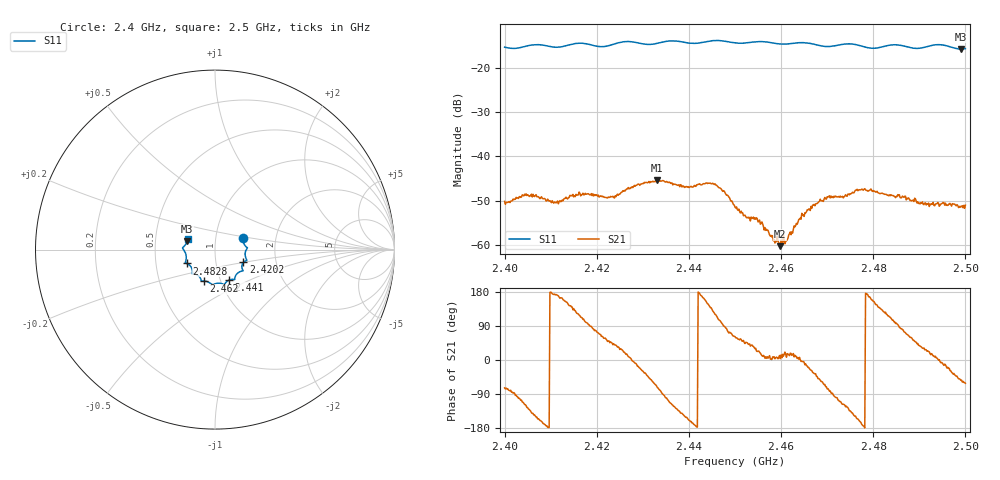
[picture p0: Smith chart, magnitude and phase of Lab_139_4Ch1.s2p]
# Hz S RI R 50
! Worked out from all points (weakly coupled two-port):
!   601 points, 2.4 GHz to 2.5 GHz, reference 50 ohm
!   highest |S21| = -45.34 dB at 2.433 GHz (marker M1); lowest = -60.2 dB at 2.4597 GHz (marker M2)
!   lowest |S11| = -15.8 dB at 2.499 GHz (marker M3), VSWR 1.39, Z = 36.5 + j3.48 ohm
!   |S11| at or under -10 dB: start of sweep to end of sweep
!   S12 and S22 are empty: the file has one direction only
!   S11 on the Smith chart (normalised r, x): 2.4 GHz: 1.36, +0.18; 2.4202 GHz: 1.36, -0.20; 2.441 GHz: 1.10, -0.39; 2.462 GHz: 0.84, -0.30; 2.4828 GHz: 0.72, -0.11; 2.5 GHz: 0.73, +0.09
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2.4e9  0.1575 0.063  0.000879 -0.00299  0 0  0 0
2.404667e9  0.1733 0.0159  -0.00192 -0.00327  0 0  0 0
2.411167e9  0.1681 -0.0183  -0.00298 0.000376  0 0  0 0
2.416667e9  0.1777 -0.0601  -0.00141 0.00343  0 0  0 0
2.420167e9  0.1581 -0.0708  0.00106 0.00341  0 0  0 0
2.423667e9  0.1507 -0.104  0.00253 0.00237  0 0  0 0
2.433e9  0.1135 -0.1481  0.00193 -0.00505  0 0  0 0
2.433333e9  0.1122 -0.1512  0.00144 -0.00512  0 0  0 0
2.441e9  0.0786 -0.1694  -0.00448 -0.000865  0 0  0 0
2.445667e9  0.0516 -0.1947  -0.00249 0.00424  0 0  0 0
2.45e9  0.0284 -0.1871  0.00128 0.00237  0 0  0 0
2.452833e9  0.000587 -0.1904  0.00153 0.0014  0 0  0 0
2.454833e9  -0.011 -0.1952  0.00183 0.000759  0 0  0 0
2.459667e9  -0.038 -0.1802  0.000957 0.0002  0 0  0 0
2.462e9  -0.0604 -0.1756  0.00134 0.000437  0 0  0 0
2.466667e9  -0.078 -0.168  0.0023 -0.00123  0 0  0 0
2.47e9  -0.0952 -0.1435  0.000849 -0.00341  0 0  0 0
2.476667e9  -0.126 -0.127  -0.00375 -0.0017  0 0  0 0
2.482833e9  -0.1575 -0.0772  -0.00193 0.00321  0 0  0 0
2.483333e9  -0.1605 -0.0761  -0.0016 0.00323  0 0  0 0
2.499e9  -0.1547 0.0465  0.00159 -0.00216  0 0  0 0
2.5e9  -0.1517 0.0609  0.00135 -0.00248  0 0  0 0
